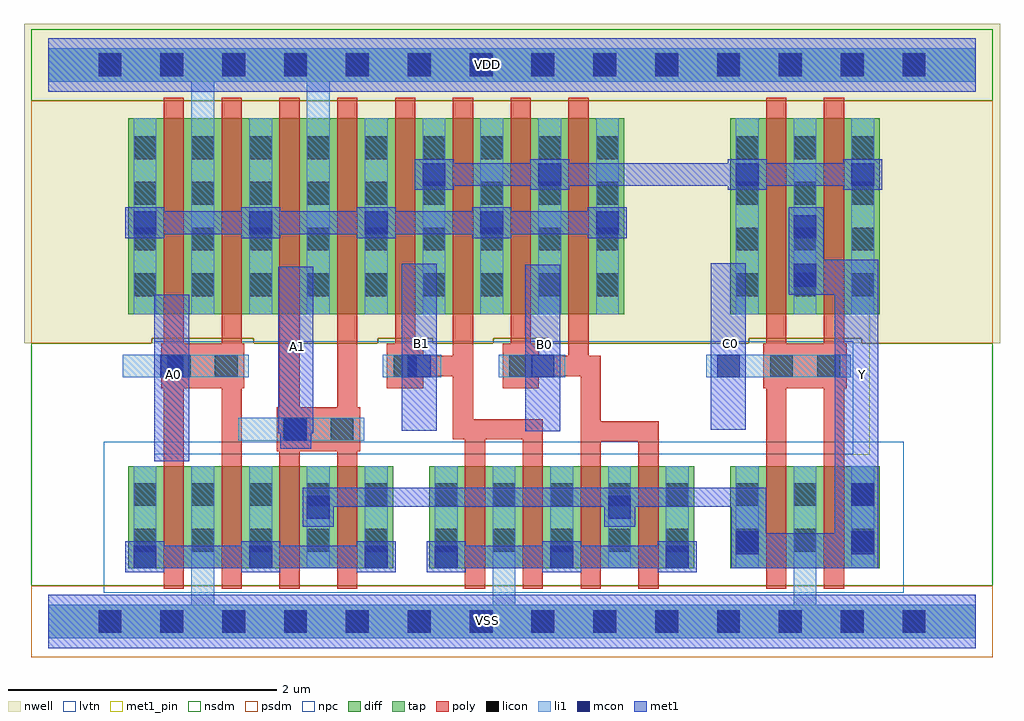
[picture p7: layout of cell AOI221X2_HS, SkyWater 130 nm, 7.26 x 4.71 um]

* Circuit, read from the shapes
.subckt AOI221X2_HS A0 A1 B0 B1 C0 VDD VSS Y
XM1 VSS A0 n1 VSS sky130_fd_pr__nfet_01v8_lvt w=0.76 l=0.15 m=2
XM2 Y A1 n1 VSS sky130_fd_pr__nfet_01v8_lvt w=0.76 l=0.15 m=2
XM3 VSS B1 n2 VSS sky130_fd_pr__nfet_01v8_lvt w=0.76 l=0.15 m=2
XM4 Y B0 n2 VSS sky130_fd_pr__nfet_01v8_lvt w=0.76 l=0.15 m=2
XM5 VSS C0 Y VSS sky130_fd_pr__nfet_01v8_lvt w=0.76 l=0.15 m=2
XM6 VDD A0 n3 VDD sky130_fd_pr__pfet_01v8 w=1.46 l=0.15 m=2
XM7 VDD A1 n3 VDD sky130_fd_pr__pfet_01v8 w=1.46 l=0.15 m=2
XM8 n4 B1 n3 VDD sky130_fd_pr__pfet_01v8 w=1.46 l=0.15 m=2
XM9 n4 B0 n3 VDD sky130_fd_pr__pfet_01v8 w=1.46 l=0.15 m=2
XM10 Y C0 n4 VDD sky130_fd_pr__pfet_01v8 w=1.46 l=0.15 m=2
.ends

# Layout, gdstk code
from math import pi, radians
import gdstk
lib = gdstk.Library(unit=1e-6, precision=1e-09)
def R(c, l, rs):  # rectangles x0, y0, x1, y1
    for r in rs: c.add(gdstk.rectangle(r[:2], r[2:], *l))
def A(c, l, x, y, w, h, nx, ny, dx, dy):  # array of equal rectangles
    R(c, l, [(x+i*dx, y+j*dy, x+i*dx+w, y+j*dy+h) for i in range(nx) for j in range(ny)])
def P(c, l, *ps):  # polygons
    for p in ps: c.add(gdstk.Polygon(p, *l))
nwell = (64, 20)
diff = (65, 20)
tap = (65, 44)
poly = (66, 20)
licon = (66, 44)
li1 = (67, 20)
mcon = (67, 44)
met1_pin = (68, 16)
met1 = (68, 20)
nsdm = (93, 44)
psdm = (94, 20)
npc = (95, 20)
lvtn = (125, 44)

l1m1_c_cdns_752016586811 = lib.new_cell('L1M1_C_CDNS_7520165868112')
R(l1m1_c_cdns_752016586811, li1, [(-0.085,-0.165,0.085,0.085)])
R(l1m1_c_cdns_752016586811, mcon, [(-0.085,-0.085,0.085,0.085)])
R(l1m1_c_cdns_752016586811, met1, [(-0.145,-0.115,0.145,0.115)])

pyl1con_c_cdns_752016586 = lib.new_cell('PYL1CON_C_CDNS_752016586813')
R(pyl1con_c_cdns_752016586, poly, [(-0.135,-0.165,0.135,0.165)])
R(pyl1con_c_cdns_752016586, licon, [(-0.085,-0.085,0.085,0.085)])
R(pyl1con_c_cdns_752016586, npc, [(-0.185,-0.185,0.185,0.185)])

c_l1m1_c_cdns_752016586811 = lib.new_cell('L1M1_C_CDNS_752016586811')
R(c_l1m1_c_cdns_752016586811, li1, [(-0.165,-0.085,0.165,0.085)])
R(c_l1m1_c_cdns_752016586811, mcon, [(-0.085,-0.085,0.085,0.085)])
R(c_l1m1_c_cdns_752016586811, met1, [(-0.115,-0.145,0.115,0.145)])

l1m1_c_cdns_752016586812 = lib.new_cell('L1M1_C_CDNS_752016586812')
R(l1m1_c_cdns_752016586812, li1, [(-0.085,-0.165,0.085,0.165)])
R(l1m1_c_cdns_752016586812, mcon, [(-0.085,-0.085,0.085,0.085)])
R(l1m1_c_cdns_752016586812, met1, [(-0.115,-0.145,0.115,0.145)])

l1m1_c_cdns_752016586814 = lib.new_cell('L1M1_C_CDNS_752016586814')
R(l1m1_c_cdns_752016586814, li1, [(-0.085,-0.165,0.085,0.165)])
R(l1m1_c_cdns_752016586814, mcon, [(-0.085,-0.085,0.085,0.085)])
R(l1m1_c_cdns_752016586814, met1, [(-0.145,-0.115,0.145,0.115)])

aoi221x2_hs = lib.new_cell('AOI221X2_HS')
R(aoi221x2_hs, nwell, [(-0.18,2.07,7.08,4.445)])
R(aoi221x2_hs, diff, [(0.595,0.395,2.565,1.155), (2.835,0.395,4.805,1.155), (5.075,0.395,6.185,1.155), (0.595,2.285,4.285,3.745), (5.075,2.285,6.185,3.745)])
P(aoi221x2_hs, poly, [(1.44,3.895),(1.29,3.895),(1.29,2.065),(1.01,2.065),(1.01,3.895),(0.86,3.895),(0.86,0.245),(1.01,0.245),(1.01,1.735),(1.29,1.735),(1.29,0.245),(1.44,0.245)],
  [(2.3,3.895),(2.15,3.895),(2.15,1.595),(1.87,1.595),(1.87,3.895),(1.72,3.895),(1.72,0.245),(1.87,0.245),(1.87,1.265),(2.15,1.265),(2.15,0.245),(2.3,0.245)],
  [(3.68,1.505),(3.16,1.505),(3.16,3.895),(3.01,3.895),(3.01,1.975),(2.73,1.975),(2.73,3.895),(2.58,3.895),(2.58,1.825),(3.01,1.825),(3.01,1.355),(3.1,1.355),(3.1,0.245),(3.25,0.245),(3.25,1.355),(3.53,1.355),(3.53,0.245),(3.68,0.245)],
  [(4.54,1.49),(4.11,1.49),(4.11,1.975),(4.02,1.975),(4.02,3.895),(3.87,3.895),(3.87,1.975),(3.59,1.975),(3.59,3.895),(3.44,3.895),(3.44,1.825),(3.96,1.825),(3.96,0.245),(4.11,0.245),(4.11,1.34),(4.39,1.34),(4.39,0.245),(4.54,0.245)],
  [(5.92,3.895),(5.77,3.895),(5.77,2.065),(5.49,2.065),(5.49,3.895),(5.34,3.895),(5.34,0.245),(5.49,0.245),(5.49,1.735),(5.77,1.735),(5.77,0.245),(5.92,0.245)])
A(aoi221x2_hs, licon, 0.375, -0.085, 0.17, 0.17, 14, 2, 0.46, 4.14)
A(aoi221x2_hs, licon, 0.635, 0.52, 0.17, 0.17, 5, 2, 0.43, 0.34)
A(aoi221x2_hs, licon, 2.875, 0.52, 0.17, 0.17, 5, 2, 0.43, 0.34)
A(aoi221x2_hs, licon, 5.115, 0.52, 0.17, 0.17, 3, 2, 0.43, 0.34)
A(aoi221x2_hs, licon, 0.635, 2.42, 0.17, 0.17, 9, 4, 0.43, 0.34)
A(aoi221x2_hs, licon, 5.115, 2.42, 0.17, 0.17, 3, 4, 0.43, 0.34)
A(aoi221x2_hs, li1, 1.495, 0.395, 0.17, 0.76, 3, 1, 0.43, 0)
A(aoi221x2_hs, li1, 3.735, 0.395, 0.17, 0.76, 3, 1, 0.43, 0)
A(aoi221x2_hs, li1, 0.635, 2.285, 0.17, 1.46, 3, 1, 0.86, 0)
A(aoi221x2_hs, li1, 2.785, 2.285, 0.17, 1.46, 4, 1, 0.43, 0)
A(aoi221x2_hs, li1, 5.115, 2.285, 0.17, 1.46, 3, 1, 0.43, 0)
R(aoi221x2_hs, li1, [(0.635,0.395,0.805,1.155), (2.875,0.395,3.045,1.155), (5.115,0.395,5.285,1.155), (5.975,0.395,6.145,1.155)])
P(aoi221x2_hs, li1, [(6.9,4.265),(0,4.265),(0,4.015),(1.065,4.015),(1.065,2.285),(1.235,2.285),(1.235,4.015),(1.925,4.015),(1.925,2.285),(2.095,2.285),(2.095,4.015),(6.9,4.015)],
  [(6.9,0.125),(5.715,0.125),(5.715,1.155),(5.545,1.155),(5.545,0.125),(3.475,0.125),(3.475,1.155),(3.305,1.155),(3.305,0.125),(1.235,0.125),(1.235,1.155),(1.065,1.155),(1.065,0.125),(0,0.125),(0,-0.125),(6.9,-0.125)])
A(aoi221x2_hs, mcon, 0.375, -0.085, 0.17, 0.17, 14, 2, 0.46, 4.14)
R(aoi221x2_hs, mcon, [(5.115,0.5,5.285,0.67), (5.975,0.5,6.145,0.67), (5.975,0.86,6.145,1.03), (5.545,2.49,5.715,2.66), (5.545,2.85,5.715,3.02)])
R(aoi221x2_hs, met1_pin, [(0.79,1.19,1.05,2.43), (5.85,1.24,6.11,2.69), (1.71,1.4,1.97,2.64), (3.55,1.415,3.81,2.655), (2.63,1.42,2.89,2.66), (4.93,1.425,5.19,2.665)])
P(aoi221x2_hs, met1, [(6.175,2.69),(5.77,2.69),(5.77,3.08),(5.51,3.08),(5.51,2.43),(5.85,2.43),(5.85,0.655),(5.34,0.655),(5.34,0.995),(1.895,0.995),(1.895,0.855),(5.08,0.855),(5.08,0.395),(6.175,0.395)])
R(aoi221x2_hs, nsdm, [(-0.125,3.875,7.025,4.405)])
P(aoi221x2_hs, nsdm, [(7.025,2.07),(6.05,2.07),(6.05,2.105),(5.21,2.105),(5.21,2.07),(3.72,2.07),(3.72,2.105),(3.31,2.105),(3.31,2.07),(2.86,2.07),(2.86,2.105),(2.45,2.105),(2.45,2.07),(1.53,2.07),(1.53,2.105),(0.77,2.105),(0.77,2.07),(-0.125,2.07),(-0.125,0.265),(7.025,0.265)])
R(aoi221x2_hs, psdm, [(-0.125,-0.265,7.025,0.265)])
P(aoi221x2_hs, psdm, [(7.025,3.875),(-0.125,3.875),(-0.125,2.07),(0.77,2.07),(0.77,2.105),(1.53,2.105),(1.53,2.07),(2.45,2.07),(2.45,2.105),(2.86,2.105),(2.86,2.07),(3.31,2.07),(3.31,2.105),(3.72,2.105),(3.72,2.07),(5.21,2.07),(5.21,2.105),(6.05,2.105),(6.05,2.07),(7.025,2.07)])
R(aoi221x2_hs, npc, [(0.79,1.245,5.99,2.085)])
R(aoi221x2_hs, lvtn, [(0.415,0.215,6.365,1.335)])
aoi221x2_hs.add(gdstk.FlexPath([(3.765,1.9),(3.35,1.9)], 0.17, ends="flush", simple_path=True, layer=67, datatype=20))  # li1
aoi221x2_hs.add(gdstk.FlexPath([(0.555,1.9),(1.49,1.9)], 0.17, ends="flush", simple_path=True, layer=67, datatype=20))  # li1
aoi221x2_hs.add(gdstk.FlexPath([(1.415,1.43),(2.35,1.43)], 0.17, ends="flush", simple_path=True, layer=67, datatype=20))  # li1
aoi221x2_hs.add(gdstk.FlexPath([(2.905,1.9),(2.49,1.9)], 0.17, ends="flush", simple_path=True, layer=67, datatype=20))  # li1
aoi221x2_hs.add(gdstk.FlexPath([(5.035,1.9),(5.97,1.9)], 0.17, ends="flush", simple_path=True, layer=67, datatype=20))  # li1
aoi221x2_hs.add(gdstk.FlexPath([(0,4.14),(6.9,4.14)], 0.4, ends="flush", simple_path=True, layer=68, datatype=20))  # met1
aoi221x2_hs.add(gdstk.FlexPath([(0,0),(6.9,0)], 0.4, ends="flush", simple_path=True, layer=68, datatype=20))  # met1
aoi221x2_hs.add(gdstk.FlexPath([(5.06,2.665),(5.06,1.425)], 0.26, ends="flush", simple_path=True, layer=68, datatype=20))  # met1
aoi221x2_hs.add(gdstk.FlexPath([(3.68,2.655),(3.68,1.415)], 0.26, ends="flush", simple_path=True, layer=68, datatype=20))  # met1
aoi221x2_hs.add(gdstk.FlexPath([(2.76,2.66),(2.76,1.42)], 0.26, ends="flush", simple_path=True, layer=68, datatype=20))  # met1
aoi221x2_hs.add(gdstk.FlexPath([(1.84,2.64),(1.84,1.4)], 0.26, ends="flush", simple_path=True, layer=68, datatype=20))  # met1
aoi221x2_hs.add(gdstk.FlexPath([(2.815,0.48),(4.825,0.48)], 0.17, ends="flush", simple_path=True, layer=68, datatype=20))  # met1
aoi221x2_hs.add(gdstk.FlexPath([(0.575,0.48),(2.585,0.48)], 0.17, ends="flush", simple_path=True, layer=68, datatype=20))  # met1
aoi221x2_hs.add(gdstk.FlexPath([(0.575,2.965),(4.305,2.965)], 0.17, ends="flush", simple_path=True, layer=68, datatype=20))  # met1
aoi221x2_hs.add(gdstk.FlexPath([(2.725,3.325),(6.205,3.325)], 0.17, ends="flush", simple_path=True, layer=68, datatype=20))  # met1
aoi221x2_hs.add(gdstk.FlexPath([(0.92,2.43),(0.92,1.19)], 0.26, ends="flush", simple_path=True, layer=68, datatype=20))  # met1
aoi221x2_hs.add(gdstk.FlexPath([(0,4.14),(6.9,4.14)], 0.4, ends="flush", simple_path=True, layer=68, datatype=16))  # met1_pin
aoi221x2_hs.add(gdstk.FlexPath([(0,0),(6.9,0)], 0.4, ends="flush", simple_path=True, layer=68, datatype=16))  # met1_pin
aoi221x2_hs.add(gdstk.FlexPath([(0,4.14),(6.9,4.14)], 0.25, ends="flush", simple_path=True, layer=65, datatype=44))  # tap
aoi221x2_hs.add(gdstk.FlexPath([(0,0),(6.9,0)], 0.25, ends="flush", simple_path=True, layer=65, datatype=44))  # tap
aoi221x2_hs.add(gdstk.Reference(l1m1_c_cdns_752016586811, (2.44,0.48), x_reflection=True))
aoi221x2_hs.add(gdstk.Reference(l1m1_c_cdns_752016586811, (4.68,0.48), x_reflection=True))
aoi221x2_hs.add(gdstk.Reference(l1m1_c_cdns_752016586811, (3.82,0.48), x_reflection=True))
aoi221x2_hs.add(gdstk.Reference(l1m1_c_cdns_752016586811, (2.96,0.48), x_reflection=True))
aoi221x2_hs.add(gdstk.Reference(l1m1_c_cdns_752016586811, (1.58,0.48), x_reflection=True))
aoi221x2_hs.add(gdstk.Reference(l1m1_c_cdns_752016586811, (0.72,0.48), x_reflection=True))
aoi221x2_hs.add(gdstk.Reference(pyl1con_c_cdns_752016586, (5.455,1.9), rotation=pi, x_reflection=True))
aoi221x2_hs.add(gdstk.Reference(pyl1con_c_cdns_752016586, (5.805,1.9), rotation=pi, x_reflection=True))
aoi221x2_hs.add(gdstk.Reference(pyl1con_c_cdns_752016586, (3.515,1.9), rotation=pi, x_reflection=True))
aoi221x2_hs.add(gdstk.Reference(pyl1con_c_cdns_752016586, (2.655,1.9), rotation=pi, x_reflection=True))
aoi221x2_hs.add(gdstk.Reference(pyl1con_c_cdns_752016586, (1.835,1.43), rotation=pi, x_reflection=True))
aoi221x2_hs.add(gdstk.Reference(pyl1con_c_cdns_752016586, (2.185,1.43), rotation=pi, x_reflection=True))
aoi221x2_hs.add(gdstk.Reference(pyl1con_c_cdns_752016586, (1.325,1.9), rotation=pi, x_reflection=True))
aoi221x2_hs.add(gdstk.Reference(pyl1con_c_cdns_752016586, (0.975,1.9), rotation=pi, x_reflection=True))
aoi221x2_hs.add(gdstk.Reference(c_l1m1_c_cdns_752016586811, (5.06,1.9)))
aoi221x2_hs.add(gdstk.Reference(c_l1m1_c_cdns_752016586811, (3.68,1.9)))
aoi221x2_hs.add(gdstk.Reference(c_l1m1_c_cdns_752016586811, (2.76,1.9)))
aoi221x2_hs.add(gdstk.Reference(c_l1m1_c_cdns_752016586811, (1.84,1.43)))
aoi221x2_hs.add(gdstk.Reference(c_l1m1_c_cdns_752016586811, (0.92,1.9)))
aoi221x2_hs.add(gdstk.Reference(l1m1_c_cdns_752016586812, (4.25,0.85), x_reflection=True))
aoi221x2_hs.add(gdstk.Reference(l1m1_c_cdns_752016586812, (2.01,0.85), x_reflection=True))
aoi221x2_hs.add(gdstk.Reference(l1m1_c_cdns_752016586814, (6.06,3.325), x_reflection=True))
aoi221x2_hs.add(gdstk.Reference(l1m1_c_cdns_752016586814, (5.2,3.325), x_reflection=True))
aoi221x2_hs.add(gdstk.Reference(l1m1_c_cdns_752016586814, (3.73,3.325), x_reflection=True))
aoi221x2_hs.add(gdstk.Reference(l1m1_c_cdns_752016586814, (3.3,2.965), x_reflection=True))
aoi221x2_hs.add(gdstk.Reference(l1m1_c_cdns_752016586814, (2.44,2.965), x_reflection=True))
aoi221x2_hs.add(gdstk.Reference(l1m1_c_cdns_752016586814, (2.87,3.325), x_reflection=True))
aoi221x2_hs.add(gdstk.Reference(l1m1_c_cdns_752016586814, (4.16,2.965), x_reflection=True))
aoi221x2_hs.add(gdstk.Reference(l1m1_c_cdns_752016586814, (0.72,2.965), x_reflection=True))
aoi221x2_hs.add(gdstk.Reference(l1m1_c_cdns_752016586814, (1.58,2.965), x_reflection=True))
aoi221x2_hs.add(gdstk.Label('VDD', (3.265,4.145), layer=68, texttype=5))
aoi221x2_hs.add(gdstk.Label('Y', (6.055,1.835), layer=68, texttype=5))
aoi221x2_hs.add(gdstk.Label('A1', (1.855,2.045), layer=68, texttype=5))
aoi221x2_hs.add(gdstk.Label('C0', (5.075,2.07), layer=68, texttype=5))
aoi221x2_hs.add(gdstk.Label('B0', (3.695,2.06), layer=68, texttype=5))
aoi221x2_hs.add(gdstk.Label('B1', (2.775,2.065), layer=68, texttype=5))
aoi221x2_hs.add(gdstk.Label('A0', (0.935,1.84), layer=68, texttype=5))
aoi221x2_hs.add(gdstk.Label('VSS', (3.265,0.005), layer=68, texttype=5))

lib.write_gds('AOI221X2_HS.gds')
